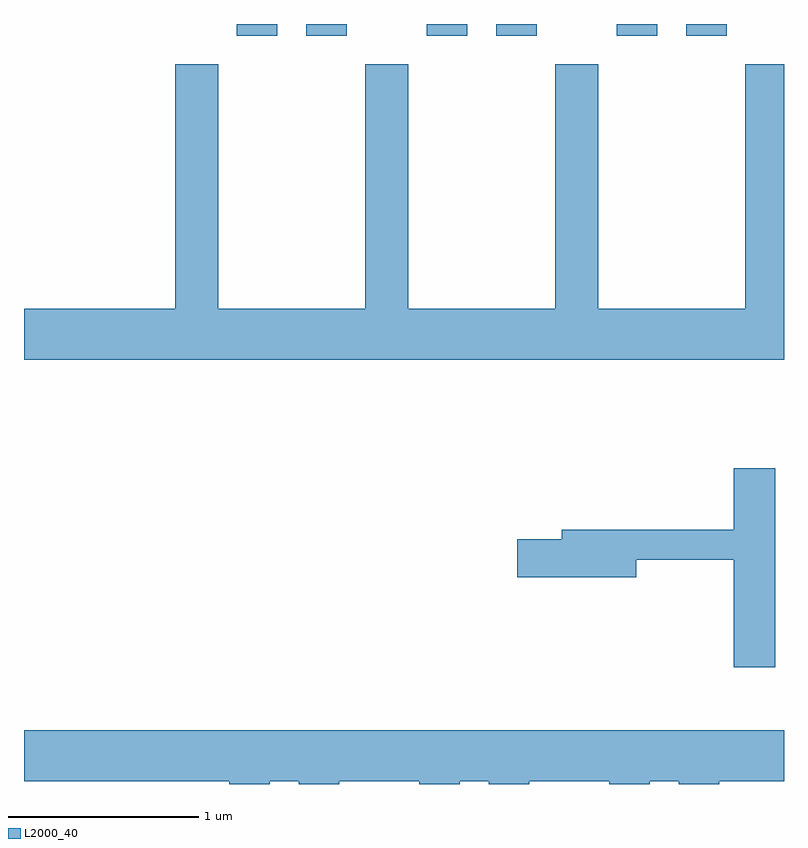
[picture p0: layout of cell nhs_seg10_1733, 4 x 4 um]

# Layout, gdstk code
import gdstk
lib = gdstk.Library(unit=1e-6, precision=1e-09)
def R(c, l, rs):  # rectangles x0, y0, x1, y1
    for r in rs: c.add(gdstk.rectangle(r[:2], r[2:], *l))
def P(c, l, *ps):  # polygons
    for p in ps: c.add(gdstk.Polygon(p, *l))
L2000_40 = (2000, 40)

nhs_seg10_1733 = lib.new_cell('nhs_seg10_1733')
R(nhs_seg10_1733, L2000_40, [(236.731,2164.461,236.944,2164.522), (237.096,2164.461,237.309,2164.522), (237.731,2164.461,237.944,2164.522), (238.096,2164.461,238.309,2164.522), (238.731,2164.461,238.944,2164.522), (239.096,2164.461,239.309,2164.522)])
P(nhs_seg10_1733, L2000_40, [(239.611,2164.309),(239.406,2164.309),(239.406,2163.024),(238.634,2163.024),(238.634,2164.309),(238.406,2164.309),(238.406,2163.024),(237.634,2163.024),(237.634,2164.309),(237.406,2164.309),(237.406,2163.024),(236.634,2163.024),(236.634,2164.309),(236.406,2164.309),(236.406,2163.024),(235.611,2163.024),(235.611,2162.756),(239.611,2162.756)],
  [(239.564,2162.184),(239.346,2162.184),(239.346,2161.859),(238.441,2161.859),(238.441,2161.809),(238.206,2161.809),(238.206,2161.611),(238.834,2161.611),(238.834,2161.701),(239.346,2161.701),(239.346,2161.136),(239.564,2161.136)],
  [(236.904,2160.536),(237.056,2160.536),(237.056,2160.522),(237.269,2160.522),(237.269,2160.536),(237.691,2160.536),(237.691,2160.522),(237.904,2160.522),(237.904,2160.536),(238.056,2160.536),(238.056,2160.522),(238.269,2160.522),(238.269,2160.536),(238.691,2160.536),(238.691,2160.522),(238.904,2160.522),(238.904,2160.536),(239.056,2160.536),(239.056,2160.522),(239.269,2160.522),(239.269,2160.536),(239.611,2160.536),(239.611,2160.804),(235.611,2160.804),(235.611,2160.536),(236.691,2160.536),(236.691,2160.522),(236.904,2160.522)])

lib.write_gds('nhs_seg10_1733.gds')
